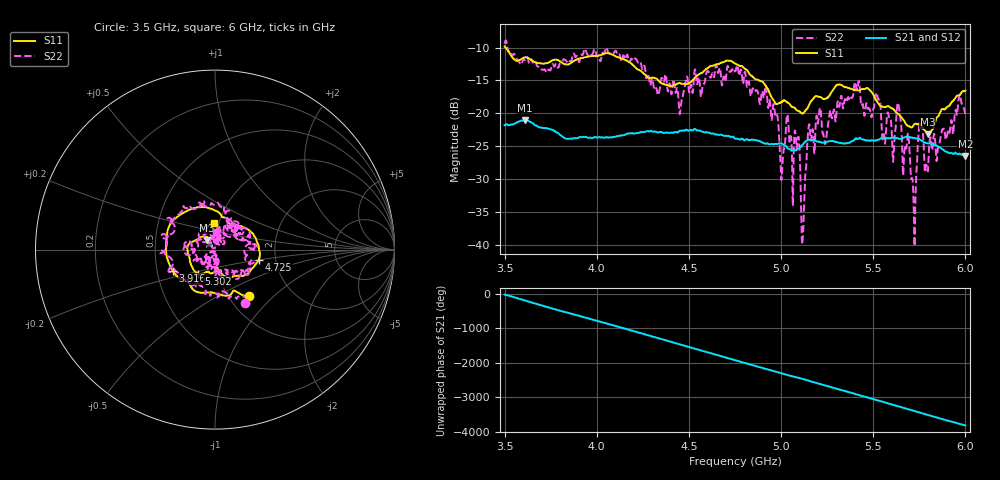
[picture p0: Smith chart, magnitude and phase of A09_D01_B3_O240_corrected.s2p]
! Created with skrf 1.9.0 (http://scikit-rf.org).
# Hz S RI R 50.0
!freq ReS11 ImS11 ReS21 ImS21 ReS12 ImS12 ReS22 ImS22
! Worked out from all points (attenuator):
!   1601 points, 3.5 GHz to 6 GHz, reference 50 ohm
!   highest |S21| = -21.07 dB at 3.611 GHz (marker M1); lowest = -26.5 dB at 6 GHz (marker M2)
!   lowest |S11| = -23.2 dB at 5.797 GHz (marker M3), VSWR 1.15, Z = 45.6 + j4.96 ohm
!   |S11| at or under -10 dB: 3.506 GHz to end of sweep
!   |S22| runs from -40.2 to -8.9 dB; largest |S21 - S12| = 0.0013
!   S11 on the Smith chart (normalised r, x): 3.5 GHz: 1.24, -0.72; 3.916 GHz: 0.61, -0.16; 4.725 GHz: 1.63, -0.19; 5.302 GHz: 0.80, -0.22; 6 GHz: 0.94, +0.29
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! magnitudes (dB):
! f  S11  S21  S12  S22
! 3.5 GHz  -9.8  -21.8  -21.8  -9.4
! 3.611 GHz  -11.5  -21.1  -21.1  -11.9
! 3.916 GHz  -11.6  -23.6  -23.6  -11.2
! 3.917 GHz  -11.6  -23.6  -23.6  -11.1
! 4.334 GHz  -15.0  -22.9  -22.9  -17.2
! 4.725 GHz  -12.0  -23.6  -23.5  -13.6
! 4.75 GHz  -12.4  -23.9  -23.8  -13.6
! 4.969 GHz  -18.5  -24.7  -24.6  -20.4
! 5.005 GHz  -18.2  -24.6  -24.6  -29.3
! 5.086 GHz  -19.5  -25.6  -25.5  -25.4
! 5.117 GHz  -20.1  -24.8  -24.7  -39.2
! 5.144 GHz  -19.2  -24.1  -24.0  -23.9
! 5.167 GHz  -18.0  -24.0  -24.0  -22.9
! 5.302 GHz  -15.7  -24.4  -24.4  -19.5
! 5.412 GHz  -16.5  -23.9  -23.9  -16.3
! 5.584 GHz  -19.0  -23.8  -23.8  -20.4
! 5.611 GHz  -19.4  -23.7  -23.6  -26.2
! 5.639 GHz  -20.2  -23.9  -23.9  -18.9
! 5.719 GHz  -21.8  -23.8  -23.7  -33.4
! 5.755 GHz  -21.6  -24.0  -24.0  -21.8
! 5.797 GHz  -23.2  -24.6  -24.6  -28.8
! 6 GHz  -16.6  -26.5  -26.4  -20.1
